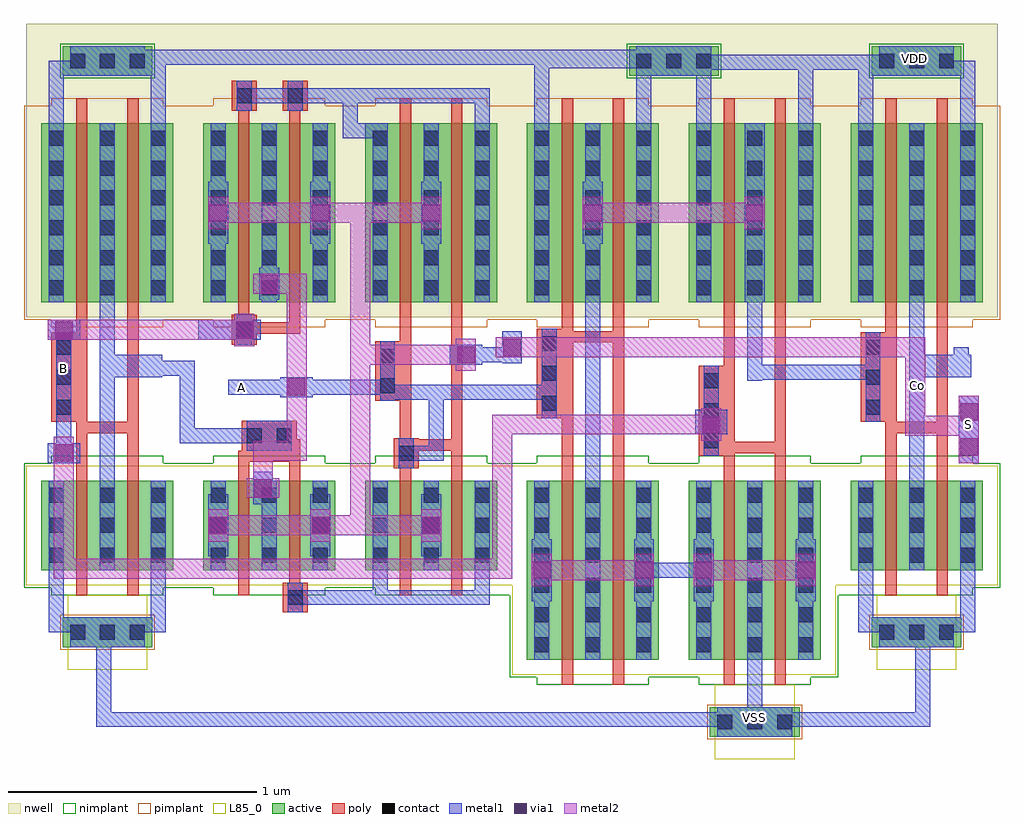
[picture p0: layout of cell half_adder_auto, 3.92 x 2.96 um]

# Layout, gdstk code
import gdstk
lib = gdstk.Library(unit=1e-6, precision=5e-10)
def R(c, l, rs):  # rectangles x0, y0, x1, y1
    for r in rs: c.add(gdstk.rectangle(r[:2], r[2:], *l))
def A(c, l, x, y, w, h, nx, ny, dx, dy):  # array of equal rectangles
    R(c, l, [(x+i*dx, y+j*dy, x+i*dx+w, y+j*dy+h) for i in range(nx) for j in range(ny)])
active = (1, 0)
nwell = (2, 0)
poly = (3, 0)
nimplant = (4, 0)
pimplant = (5, 0)
contact = (6, 0)
metal1 = (7, 0)
via1 = (8, 0)
metal2 = (9, 0)
L85_0 = (85, 0)

pmos1v_cdns_764868220890 = lib.new_cell('pmos1v_CDNS_764868220890')
R(pmos1v_cdns_764868220890, active, [(-0.14,0,0,0.72), (0,0,0.045,0.72), (0.045,0,0.205,0.72), (0.205,0,0.25,0.72), (0.25,0,0.39,0.72)])
R(pmos1v_cdns_764868220890, nwell, [(-0.2,-0.06,0.45,0.78)])
R(pmos1v_cdns_764868220890, poly, [(0,-0.1,0.045,-0.05), (0.205,-0.1,0.25,-0.05), (0,-0.05,0.045,0), (0.205,-0.05,0.25,0), (0,0,0.045,0.72), (0.205,0,0.25,0.72), (0,0.72,0.045,0.77), (0.205,0.72,0.25,0.77), (0,0.77,0.045,0.82), (0.205,0.77,0.25,0.82)])
R(pmos1v_cdns_764868220890, pimplant, [(-0.1,-0.1,0.35,0.82), (-0.21,-0.07,0.46,0.79)])
A(pmos1v_cdns_764868220890, contact, -0.11, 0.03, 0.06, 0.06, 3, 6, 0.205, 0.12)
A(pmos1v_cdns_764868220890, metal1, -0.11, 0, 0.06, 0.72, 3, 1, 0.205, 0)
pmos1v_cdns_764868220890.add(gdstk.Label('S_source_2', (0.32,0.36), layer=1, texttype=0))
pmos1v_cdns_764868220890.add(gdstk.Label('S_source_0', (-0.07,0.36), layer=1, texttype=0))
pmos1v_cdns_764868220890.add(gdstk.Label('G_gate_2', (0.2275,-0.075), layer=3, texttype=0))
pmos1v_cdns_764868220890.add(gdstk.Label('G_gate_2', (0.2275,0.795), layer=3, texttype=0))
pmos1v_cdns_764868220890.add(gdstk.Label('G_gate_1', (0.0225,-0.075), layer=3, texttype=0))
pmos1v_cdns_764868220890.add(gdstk.Label('G_gate_1', (0.0225,0.795), layer=3, texttype=0))
pmos1v_cdns_764868220890.add(gdstk.Label('S_source_2', (0.33,0.36), layer=7, texttype=0))
pmos1v_cdns_764868220890.add(gdstk.Label('D_drain_1', (0.125,0.36), layer=7, texttype=0))
pmos1v_cdns_764868220890.add(gdstk.Label('S_source_0', (-0.08,0.36), layer=7, texttype=0))
pmos1v_cdns_764868220890.add(gdstk.Label('B', (0.125,0.36), layer=2, texttype=0))

nmos1v_cdns_764868220891 = lib.new_cell('nmos1v_CDNS_764868220891')
R(nmos1v_cdns_764868220891, active, [(-0.14,0,0,0.36), (0,0,0.045,0.36), (0.045,0,0.205,0.36), (0.205,0,0.25,0.36), (0.25,0,0.39,0.36)])
R(nmos1v_cdns_764868220891, poly, [(0,-0.1,0.045,-0.05), (0.205,-0.1,0.25,-0.05), (0,-0.05,0.045,0), (0.205,-0.05,0.25,0), (0,0,0.045,0.36), (0.205,0,0.25,0.36), (0,0.36,0.045,0.41), (0.205,0.36,0.25,0.41), (0,0.41,0.045,0.46), (0.205,0.41,0.25,0.46)])
R(nmos1v_cdns_764868220891, nimplant, [(-0.1,-0.1,0.35,0.46), (-0.21,-0.07,0.46,0.43)])
A(nmos1v_cdns_764868220891, contact, -0.11, 0.03, 0.06, 0.06, 3, 3, 0.205, 0.12)
A(nmos1v_cdns_764868220891, metal1, -0.11, 0, 0.06, 0.36, 3, 1, 0.205, 0)
R(nmos1v_cdns_764868220891, L85_0, [(-0.2,-0.06,0.45,0.42)])
nmos1v_cdns_764868220891.add(gdstk.Label('S_source_2', (0.32,0.18), layer=1, texttype=0))
nmos1v_cdns_764868220891.add(gdstk.Label('S_source_0', (-0.07,0.18), layer=1, texttype=0))
nmos1v_cdns_764868220891.add(gdstk.Label('G_gate_2', (0.2275,-0.075), layer=3, texttype=0))
nmos1v_cdns_764868220891.add(gdstk.Label('G_gate_2', (0.2275,0.435), layer=3, texttype=0))
nmos1v_cdns_764868220891.add(gdstk.Label('G_gate_1', (0.0225,-0.075), layer=3, texttype=0))
nmos1v_cdns_764868220891.add(gdstk.Label('G_gate_1', (0.0225,0.435), layer=3, texttype=0))
nmos1v_cdns_764868220891.add(gdstk.Label('S_source_2', (0.33,0.18), layer=7, texttype=0))
nmos1v_cdns_764868220891.add(gdstk.Label('D_drain_1', (0.125,0.18), layer=7, texttype=0))
nmos1v_cdns_764868220891.add(gdstk.Label('S_source_0', (-0.08,0.18), layer=7, texttype=0))
nmos1v_cdns_764868220891.add(gdstk.Label('B', (0.125,0.18), layer=85, texttype=0))

m1_nwell_cdns_7648682208 = lib.new_cell('M1_NWELL_CDNS_764868220899')
R(m1_nwell_cdns_7648682208, active, [(-0.18,-0.06,0.18,0.06)])
R(m1_nwell_cdns_7648682208, nwell, [(-0.21,-0.15,0.21,0.15)])
R(m1_nwell_cdns_7648682208, nimplant, [(-0.19,-0.07,0.19,0.07)])
A(m1_nwell_cdns_7648682208, contact, -0.15, -0.03, 0.06, 0.06, 3, 1, 0.12, 0)
R(m1_nwell_cdns_7648682208, metal1, [(-0.15,-0.06,0.15,0.06)])

m1_po_cdns_7648682208910 = lib.new_cell('M1_PO_CDNS_7648682208910')
R(m1_po_cdns_7648682208910, poly, [(-0.05,-0.18,0.05,0.18)])
A(m1_po_cdns_7648682208910, contact, -0.03, -0.15, 0.06, 0.06, 1, 3, 0, 0.12)
R(m1_po_cdns_7648682208910, metal1, [(-0.03,-0.18,0.03,0.18)])

m1_psub_cdns_76486822089 = lib.new_cell('M1_PSUB_CDNS_7648682208911')
R(m1_psub_cdns_76486822089, active, [(-0.18,-0.06,0.18,0.06)])
R(m1_psub_cdns_76486822089, pimplant, [(-0.19,-0.07,0.19,0.07)])
A(m1_psub_cdns_76486822089, contact, -0.15, -0.03, 0.06, 0.06, 3, 1, 0.12, 0)
R(m1_psub_cdns_76486822089, metal1, [(-0.15,-0.06,0.15,0.06)])
R(m1_psub_cdns_76486822089, L85_0, [(-0.16,-0.15,0.16,0.15)])

inv = lib.new_cell('inv')
R(inv, nwell, [(-0.23,1.095,0.42,1.435)])
R(inv, metal1, [(0.065,-1.04,0.125,-0.98), (-0.11,-0.03,-0.05,0.03), (0.255,0.015,0.315,0.075), (0.04,1.225,0.1,1.285)])
inv.add(gdstk.FlexPath([(0.3,1.255),(0.3,1.035)], 0.06, ends=(0.03, 0), simple_path=True, layer=7, datatype=0))  # metal1
inv.add(gdstk.FlexPath([(-0.11,1.255),(-0.11,1.035)], 0.06, ends=(0.03, 0), simple_path=True, layer=7, datatype=0))  # metal1
inv.add(gdstk.FlexPath([(-0.11,1.255),(0.3,1.255)], 0.06, ends="extended", simple_path=True, layer=7, datatype=0))  # metal1
inv.add(gdstk.FlexPath([(0.095,0.045),(0.285,0.045)], 0.06, ends="extended", simple_path=True, layer=7, datatype=0))  # metal1
inv.add(gdstk.FlexPath([(0.095,-0.73),(0.095,0.045)], 0.06, ends="extended", simple_path=True, layer=7, datatype=0))  # metal1
inv.add(gdstk.FlexPath([(0.285,0.075),(0.095,0.075)], 0.06, ends="extended", simple_path=True, layer=7, datatype=0))  # metal1
inv.add(gdstk.FlexPath([(0.285,0.045),(0.285,0.075)], 0.06, ends="extended", simple_path=True, layer=7, datatype=0))  # metal1
inv.add(gdstk.FlexPath([(0.095,0.075),(0.095,1.005)], 0.06, ends="extended", simple_path=True, layer=7, datatype=0))  # metal1
inv.add(gdstk.FlexPath([(0.3,-0.98),(-0.11,-0.98)], 0.06, ends="extended", simple_path=True, layer=7, datatype=0))  # metal1
inv.add(gdstk.FlexPath([(0.3,-0.76),(0.3,-0.98)], 0.06, ends=(0, 0.03), simple_path=True, layer=7, datatype=0))  # metal1
inv.add(gdstk.FlexPath([(-0.11,-0.76),(-0.11,-0.98)], 0.06, ends=(0, 0.03), simple_path=True, layer=7, datatype=0))  # metal1
inv.add(gdstk.FlexPath([(-0.0075,-0.1875),(-0.0075,-0.3)], 0.045, ends=(0.0225, 0), simple_path=True, layer=3, datatype=0))  # poly
inv.add(gdstk.FlexPath([(-0.0075,0.215),(-0.0075,-0.1875)], 0.045, ends=(0, 0.0225), simple_path=True, layer=3, datatype=0))  # poly
inv.add(gdstk.FlexPath([(0.1975,0.215),(0.1975,-0.1875)], 0.045, ends=(0, 0.0225), simple_path=True, layer=3, datatype=0))  # poly
inv.add(gdstk.FlexPath([(-0.0075,-0.1875),(0.1975,-0.1875)], 0.045, ends="extended", simple_path=True, layer=3, datatype=0))  # poly
inv.add(gdstk.FlexPath([(0.1975,-0.1875),(0.1975,-0.3)], 0.045, ends=(0.0225, 0), simple_path=True, layer=3, datatype=0))  # poly
inv.add(gdstk.Reference(pmos1v_cdns_764868220890, (-0.03,0.315)))
inv.add(gdstk.Reference(nmos1v_cdns_764868220891, (-0.03,-0.76)))
inv.add(gdstk.Reference(m1_nwell_cdns_7648682208, (0.095,1.285)))
inv.add(gdstk.Reference(m1_po_cdns_7648682208910, (-0.08,0.015)))
inv.add(gdstk.Reference(m1_psub_cdns_76486822089, (0.095,-1.01)))
inv.add(gdstk.Label('OUT', (0.285,0.045), layer=7, texttype=0))
inv.add(gdstk.Label('VSS', (0.095,-1.01), layer=7, texttype=0))
inv.add(gdstk.Label('VDD', (0.07,1.255), layer=7, texttype=0))
inv.add(gdstk.Label('IN', (-0.08,0), layer=7, texttype=0))
inv.add(gdstk.Label('OUT', (0.285,0.045), layer=63, texttype=0))
inv.add(gdstk.Label('VSS', (0.095,-1.01), layer=63, texttype=0))
inv.add(gdstk.Label('VDD', (0.07,1.255), layer=63, texttype=0))
inv.add(gdstk.Label('IN', (-0.08,0), layer=63, texttype=0))

m2_m1_cdns_764868220893 = lib.new_cell('M2_M1_CDNS_764868220893')
R(m2_m1_cdns_764868220893, metal1, [(-0.065,-0.04,0.065,0.04)])
R(m2_m1_cdns_764868220893, via1, [(-0.035,-0.035,0.035,0.035)])
R(m2_m1_cdns_764868220893, metal2, [(-0.065,-0.04,0.065,0.04)])

m2_m1_cdns_764868220891 = lib.new_cell('M2_M1_CDNS_764868220891')
R(m2_m1_cdns_764868220891, metal1, [(-0.065,-0.04,0.065,0.04)])
R(m2_m1_cdns_764868220891, via1, [(-0.035,-0.035,0.035,0.035)])
R(m2_m1_cdns_764868220891, metal2, [(-0.04,-0.065,0.04,0.065)])

m2_m1_cdns_764868220894 = lib.new_cell('M2_M1_CDNS_764868220894')
R(m2_m1_cdns_764868220894, metal1, [(-0.04,-0.125,0.04,0.125)])
R(m2_m1_cdns_764868220894, via1, [(-0.035,-0.035,0.035,0.035)])
R(m2_m1_cdns_764868220894, metal2, [(-0.04,-0.065,0.04,0.065)])

m2_m1_cdns_764868220895 = lib.new_cell('M2_M1_CDNS_764868220895')
R(m2_m1_cdns_764868220895, metal1, [(-0.185,-0.04,0.065,0.04)])
R(m2_m1_cdns_764868220895, via1, [(-0.035,-0.035,0.035,0.035)])
R(m2_m1_cdns_764868220895, metal2, [(-0.04,-0.065,0.04,0.065)])

m1_po_cdns_764868220896 = lib.new_cell('M1_PO_CDNS_764868220896')
R(m1_po_cdns_764868220896, poly, [(-0.05,-0.06,0.05,0.06)])
R(m1_po_cdns_764868220896, contact, [(-0.03,-0.03,0.03,0.03)])
R(m1_po_cdns_764868220896, metal1, [(-0.03,-0.06,0.03,0.06)])

m2_m1_cdns_764868220890 = lib.new_cell('M2_M1_CDNS_764868220890')
R(m2_m1_cdns_764868220890, metal1, [(-0.04,-0.065,0.04,0.065)])
R(m2_m1_cdns_764868220890, via1, [(-0.035,-0.035,0.035,0.035)])
R(m2_m1_cdns_764868220890, metal2, [(-0.065,-0.04,0.065,0.04)])

m1_po_cdns_764868220897 = lib.new_cell('M1_PO_CDNS_764868220897')
R(m1_po_cdns_764868220897, poly, [(-0.05,-0.12,0.05,0.12)])
R(m1_po_cdns_764868220897, contact, [(-0.03,-0.09,0.03,-0.03), (-0.03,0.03,0.03,0.09)])
R(m1_po_cdns_764868220897, metal1, [(-0.03,-0.12,0.03,0.12)])

m1_po_cdns_764868220898 = lib.new_cell('M1_PO_CDNS_764868220898')
R(m1_po_cdns_764868220898, poly, [(-0.11,-0.06,0.11,0.06)])
R(m1_po_cdns_764868220898, contact, [(-0.09,-0.03,-0.03,0.03), (0.03,-0.03,0.09,0.03)])
R(m1_po_cdns_764868220898, metal1, [(-0.09,-0.06,0.09,0.06)])

xor = lib.new_cell('xor')
R(xor, nwell, [(-1.1,0.895,0.85,1.235)])
R(xor, metal1, [(-0.79,-1.21,-0.73,-1.15), (-0.155,-0.47,-0.095,-0.41), (0.32,-0.245,0.38,-0.185), (-0.98,-0.235,-0.92,-0.175), (0.83,-0.125,0.89,-0.065), (-0.815,1.025,-0.755,1.085)])
xor.add(gdstk.FlexPath([(0.665,-0.095),(0.24,-0.095)], 0.08, ends="extended", simple_path=True, layer=9, datatype=0))  # metal2
xor.add(gdstk.FlexPath([(0.24,0.475),(0.24,-0.095)], 0.08, ends="extended", simple_path=True, layer=9, datatype=0))  # metal2
xor.add(gdstk.FlexPath([(0.24,-0.095),(0.24,-0.78)], 0.08, ends="extended", simple_path=True, layer=9, datatype=0))  # metal2
xor.add(gdstk.FlexPath([(0.525,-0.78),(0.24,-0.78)], 0.08, ends="extended", simple_path=True, layer=9, datatype=0))  # metal2
xor.add(gdstk.FlexPath([(0.24,-0.78),(0.08,-0.78)], 0.08, ends="extended", simple_path=True, layer=9, datatype=0))  # metal2
xor.add(gdstk.FlexPath([(-0.33,-0.78),(0.08,-0.78)], 0.08, ends="extended", simple_path=True, layer=9, datatype=0))  # metal2
xor.add(gdstk.FlexPath([(0.525,0.475),(0.24,0.475)], 0.08, ends="extended", simple_path=True, layer=9, datatype=0))  # metal2
xor.add(gdstk.FlexPath([(0.24,0.475),(0.08,0.475)], 0.08, ends="extended", simple_path=True, layer=9, datatype=0))  # metal2
xor.add(gdstk.FlexPath([(-0.33,0.475),(0.08,0.475)], 0.08, ends="extended", simple_path=True, layer=9, datatype=0))  # metal2
xor.add(gdstk.FlexPath([(-0.015,-0.48),(-0.015,-0.225)], 0.08, ends=(0.04, 0.065), simple_path=True, layer=9, datatype=0))  # metal2
xor.add(gdstk.FlexPath([(-0.15,-0.48),(-0.015,-0.48)], 0.08, ends="extended", simple_path=True, layer=9, datatype=0))  # metal2
xor.add(gdstk.FlexPath([(-0.015,0.19),(-0.015,-0.225)], 0.08, ends=(0.04, 0.065), simple_path=True, layer=9, datatype=0))  # metal2
xor.add(gdstk.FlexPath([(-0.125,0.19),(-0.015,0.19)], 0.08, ends=(0.065, 0.04), simple_path=True, layer=9, datatype=0))  # metal2
xor.add(gdstk.FlexPath([(-0.15,-0.63),(-0.15,-0.48)], 0.08, ends="extended", simple_path=True, layer=9, datatype=0))  # metal2
xor.add(gdstk.FlexPath([(-0.95,0.005),(-0.225,0.005)], 0.08, ends=(0.065, 0.04), simple_path=True, layer=9, datatype=0))  # metal2
xor.add(gdstk.FlexPath([(-0.2275,0.885),(-0.2275,0.945)], 0.045, ends=(0, 0.06), simple_path=True, layer=3, datatype=0))  # poly
xor.add(gdstk.FlexPath([(-0.2275,0.005),(-0.225,0.005)], 0.045, ends=(0, 0.05), simple_path=True, layer=3, datatype=0))  # poly
xor.add(gdstk.FlexPath([(-0.0225,0.885),(-0.0225,0.945)], 0.045, ends=(0, 0.06), simple_path=True, layer=3, datatype=0))  # poly
xor.add(gdstk.FlexPath([(-0.2275,0.945),(-0.225,0.945)], 0.045, ends="flush", simple_path=True, layer=3, datatype=0))  # poly
xor.add(gdstk.FlexPath([(-0.0225,-0.495),(-0.02,-0.495)], 0.045, ends="flush", simple_path=True, layer=3, datatype=0))  # poly
xor.add(gdstk.FlexPath([(-0.0225,-0.55),(-0.0225,-0.495)], 0.045, ends=(0.005, 0.06), simple_path=True, layer=3, datatype=0))  # poly
xor.add(gdstk.FlexPath([(-0.225,0.0125),(0,0.0125)], 0.045, ends=(0.025, 0), simple_path=True, layer=3, datatype=0))  # poly
xor.add(gdstk.FlexPath([(-0.02,-0.5025),(-0.25,-0.5025)], 0.045, ends=(0.02, 0), simple_path=True, layer=3, datatype=0))  # poly
xor.add(gdstk.FlexPath([(-0.0225,-1.0725),(-0.02,-1.0725)], 0.045, ends=(0.0225, 0), simple_path=True, layer=3, datatype=0))  # poly
xor.add(gdstk.FlexPath([(-0.0225,-1.01),(-0.0225,-1.0725)], 0.045, ends=(0, 0.0225), simple_path=True, layer=3, datatype=0))  # poly
xor.add(gdstk.FlexPath([(-0.2275,0.065),(-0.2275,0.005)], 0.045, ends=(0, 0.06), simple_path=True, layer=3, datatype=0))  # poly
xor.add(gdstk.FlexPath([(-0.2275,-0.5025),(-0.1275,-0.5025)], 0.045, ends="extended", simple_path=True, layer=3, datatype=0))  # poly
xor.add(gdstk.FlexPath([(-0.1275,-0.5025),(-0.1275,-0.42)], 0.045, ends=(0.0225, 0), simple_path=True, layer=3, datatype=0))  # poly
xor.add(gdstk.FlexPath([(0.4225,-0.55),(0.4225,-0.49)], 0.045, ends=(0, 0.06), simple_path=True, layer=3, datatype=0))  # poly
xor.add(gdstk.FlexPath([(-0.0225,0.945),(-0.02,0.945)], 0.045, ends="flush", simple_path=True, layer=3, datatype=0))  # poly
xor.add(gdstk.FlexPath([(0.4225,0.015),(0.4225,-0.4575)], 0.045, ends=(0, 0.0225), simple_path=True, layer=3, datatype=0))  # poly
xor.add(gdstk.FlexPath([(0.4225,-0.4575),(0.4225,-0.5)], 0.045, ends=(0.0225, 0), simple_path=True, layer=3, datatype=0))  # poly
xor.add(gdstk.FlexPath([(0.4225,-0.4575),(0.6275,-0.4575)], 0.045, ends="extended", simple_path=True, layer=3, datatype=0))  # poly
xor.add(gdstk.FlexPath([(-0.2275,-0.5275),(-0.2275,-0.5025)], 0.045, ends="extended", simple_path=True, layer=3, datatype=0))  # poly
xor.add(gdstk.FlexPath([(0.4225,-0.49),(0.425,-0.49)], 0.045, ends="flush", simple_path=True, layer=3, datatype=0))  # poly
xor.add(gdstk.FlexPath([(0.6275,0.015),(0.6275,-0.4575)], 0.045, ends=(0, 0.0225), simple_path=True, layer=3, datatype=0))  # poly
xor.add(gdstk.FlexPath([(0.6275,-0.4575),(0.6275,-0.5)], 0.045, ends=(0.0225, 0), simple_path=True, layer=3, datatype=0))  # poly
xor.add(gdstk.FlexPath([(0.86,-0.095),(0.665,-0.095)], 0.06, ends=(0.03, 0.065), simple_path=True, layer=7, datatype=0))  # metal1
xor.add(gdstk.FlexPath([(0.545,-0.49),(0.425,-0.49)], 0.06, ends="extended", simple_path=True, layer=7, datatype=0))  # metal1
xor.add(gdstk.FlexPath([(0.545,-0.245),(0.545,-0.49)], 0.06, ends="extended", simple_path=True, layer=7, datatype=0))  # metal1
xor.add(gdstk.FlexPath([(0.35,-0.245),(0.545,-0.245)], 0.06, ends="extended", simple_path=True, layer=7, datatype=0))  # metal1
xor.add(gdstk.FlexPath([(0.35,-0.185),(0.35,-0.245)], 0.06, ends=(0, 0.03), simple_path=True, layer=7, datatype=0))  # metal1
xor.add(gdstk.FlexPath([(0.35,-0.225),(0.35,-0.185)], 0.06, ends=(0.03, 0), simple_path=True, layer=7, datatype=0))  # metal1
xor.add(gdstk.FlexPath([(-0.015,-0.225),(0.35,-0.225)], 0.06, ends=(0.065, 0.03), simple_path=True, layer=7, datatype=0))  # metal1
xor.add(gdstk.FlexPath([(0.32,0.805),(0.2,0.805)], 0.06, ends="extended", simple_path=True, layer=7, datatype=0))  # metal1
xor.add(gdstk.FlexPath([(0.32,0.115),(0.32,0.805)], 0.06, ends=(0, 0.03), simple_path=True, layer=7, datatype=0))  # metal1
xor.add(gdstk.FlexPath([(0.2,0.805),(0.2,0.945)], 0.06, ends="extended", simple_path=True, layer=7, datatype=0))  # metal1
xor.add(gdstk.FlexPath([(0.73,0.945),(0.2,0.945)], 0.06, ends="extended", simple_path=True, layer=7, datatype=0))  # metal1
xor.add(gdstk.FlexPath([(0.73,0.145),(0.73,0.945)], 0.06, ends="extended", simple_path=True, layer=7, datatype=0))  # metal1
xor.add(gdstk.FlexPath([(0.2,0.945),(-0.02,0.945)], 0.06, ends="extended", simple_path=True, layer=7, datatype=0))  # metal1
xor.add(gdstk.FlexPath([(-0.225,0.945),(-0.02,0.945)], 0.06, ends="extended", simple_path=True, layer=7, datatype=0))  # metal1
xor.add(gdstk.FlexPath([(0.73,-1.07),(0.32,-1.07)], 0.06, ends="extended", simple_path=True, layer=7, datatype=0))  # metal1
xor.add(gdstk.FlexPath([(0.73,-0.63),(0.73,-1.07)], 0.06, ends="extended", simple_path=True, layer=7, datatype=0))  # metal1
xor.add(gdstk.FlexPath([(-0.95,-0.205),(-0.95,0.005)], 0.06, ends=(0.03, 0.04), simple_path=True, layer=7, datatype=0))  # metal1
xor.add(gdstk.FlexPath([(-0.455,-0.15),(-0.555,-0.15)], 0.06, ends=(0.03, 0), simple_path=True, layer=7, datatype=0))  # metal1
xor.add(gdstk.FlexPath([(0.32,-0.96),(0.32,-1.07)], 0.06, ends=(0, 0.03), simple_path=True, layer=7, datatype=0))  # metal1
xor.add(gdstk.FlexPath([(-0.455,-0.42),(-0.455,-0.15)], 0.06, ends="extended", simple_path=True, layer=7, datatype=0))  # metal1
xor.add(gdstk.FlexPath([(-0.1275,-0.42),(-0.455,-0.42)], 0.06, ends=(0, 0.03), simple_path=True, layer=7, datatype=0))  # metal1
xor.add(gdstk.FlexPath([(0.32,-1.07),(-0.02,-1.07)], 0.06, ends=(0.03, 0), simple_path=True, layer=7, datatype=0))  # metal1
xor.add(gdstk.Reference(inv, (-0.87,-0.2)))
xor.add(gdstk.Reference(pmos1v_cdns_764868220890, (-0.25,0.115)))
xor.add(gdstk.Reference(pmos1v_cdns_764868220890, (0.4,0.115)))
xor.add(gdstk.Reference(nmos1v_cdns_764868220891, (-0.25,-0.96)))
xor.add(gdstk.Reference(nmos1v_cdns_764868220891, (0.4,-0.96)))
xor.add(gdstk.Reference(m2_m1_cdns_764868220893, (-0.95,0.005)))
xor.add(gdstk.Reference(m2_m1_cdns_764868220891, (-0.015,-0.225)))
xor.add(gdstk.Reference(m2_m1_cdns_764868220891, (0.665,-0.095)))
xor.add(gdstk.Reference(m2_m1_cdns_764868220894, (0.525,-0.78)))
xor.add(gdstk.Reference(m2_m1_cdns_764868220894, (0.525,0.475)))
xor.add(gdstk.Reference(m2_m1_cdns_764868220894, (0.08,0.475)))
xor.add(gdstk.Reference(m2_m1_cdns_764868220894, (0.08,0.475)))
xor.add(gdstk.Reference(m2_m1_cdns_764868220894, (0.08,-0.78)))
xor.add(gdstk.Reference(m2_m1_cdns_764868220894, (0.08,-0.78)))
xor.add(gdstk.Reference(m2_m1_cdns_764868220894, (-0.33,0.475)))
xor.add(gdstk.Reference(m2_m1_cdns_764868220894, (-0.33,-0.78)))
xor.add(gdstk.Reference(m2_m1_cdns_764868220895, (-0.225,0.005)))
xor.add(gdstk.Reference(m1_po_cdns_764868220896, (-0.02,-1.07)))
xor.add(gdstk.Reference(m1_po_cdns_764868220896, (0.425,-0.49)))
xor.add(gdstk.Reference(m1_po_cdns_764868220896, (-0.225,0.945)))
xor.add(gdstk.Reference(m1_po_cdns_764868220896, (-0.02,0.945)))
xor.add(gdstk.Reference(m1_po_cdns_764868220896, (-0.225,0.005)))
xor.add(gdstk.Reference(m2_m1_cdns_764868220890, (-0.125,0.19)))
xor.add(gdstk.Reference(m2_m1_cdns_764868220890, (-0.15,-0.63)))
xor.add(gdstk.Reference(m1_po_cdns_764868220897, (0.35,-0.16)))
xor.add(gdstk.Reference(m1_po_cdns_764868220898, (-0.125,-0.42)))
xor.add(gdstk.Label('OUT', (0.86,-0.095), layer=7, texttype=0))
xor.add(gdstk.Label('A', (0.35,-0.215), layer=7, texttype=0))
xor.add(gdstk.Label('B_bar', (-0.125,-0.44), layer=7, texttype=0))
xor.add(gdstk.Label('VSS', (-0.76,-1.18), layer=7, texttype=0))
xor.add(gdstk.Label('VDD', (-0.785,1.055), layer=7, texttype=0))
xor.add(gdstk.Label('B', (-0.95,-0.205), layer=7, texttype=0))

nmos1v_cdns_764868220892 = lib.new_cell('nmos1v_CDNS_764868220892')
R(nmos1v_cdns_764868220892, active, [(-0.14,0,0,0.72), (0,0,0.045,0.72), (0.045,0,0.205,0.72), (0.205,0,0.25,0.72), (0.25,0,0.39,0.72)])
R(nmos1v_cdns_764868220892, poly, [(0,-0.1,0.045,-0.05), (0.205,-0.1,0.25,-0.05), (0,-0.05,0.045,0), (0.205,-0.05,0.25,0), (0,0,0.045,0.72), (0.205,0,0.25,0.72), (0,0.72,0.045,0.77), (0.205,0.72,0.25,0.77), (0,0.77,0.045,0.82), (0.205,0.77,0.25,0.82)])
R(nmos1v_cdns_764868220892, nimplant, [(-0.1,-0.1,0.35,0.82), (-0.21,-0.07,0.46,0.79)])
A(nmos1v_cdns_764868220892, contact, -0.11, 0.03, 0.06, 0.06, 3, 6, 0.205, 0.12)
A(nmos1v_cdns_764868220892, metal1, -0.11, 0, 0.06, 0.72, 3, 1, 0.205, 0)
R(nmos1v_cdns_764868220892, L85_0, [(-0.2,-0.06,0.45,0.78)])
nmos1v_cdns_764868220892.add(gdstk.Label('S_source_2', (0.32,0.36), layer=1, texttype=0))
nmos1v_cdns_764868220892.add(gdstk.Label('S_source_0', (-0.07,0.36), layer=1, texttype=0))
nmos1v_cdns_764868220892.add(gdstk.Label('G_gate_2', (0.2275,-0.075), layer=3, texttype=0))
nmos1v_cdns_764868220892.add(gdstk.Label('G_gate_2', (0.2275,0.795), layer=3, texttype=0))
nmos1v_cdns_764868220892.add(gdstk.Label('G_gate_1', (0.0225,-0.075), layer=3, texttype=0))
nmos1v_cdns_764868220892.add(gdstk.Label('G_gate_1', (0.0225,0.795), layer=3, texttype=0))
nmos1v_cdns_764868220892.add(gdstk.Label('S_source_2', (0.33,0.36), layer=7, texttype=0))
nmos1v_cdns_764868220892.add(gdstk.Label('D_drain_1', (0.125,0.36), layer=7, texttype=0))
nmos1v_cdns_764868220892.add(gdstk.Label('S_source_0', (-0.08,0.36), layer=7, texttype=0))
nmos1v_cdns_764868220892.add(gdstk.Label('B', (0.125,0.36), layer=85, texttype=0))

nand2 = lib.new_cell('nand2')
R(nand2, nwell, [(-0.005,0.85,1.295,1.19)])
R(nand2, metal1, [(0.945,-1.645,1.005,-1.585), (0.765,-0.5,0.825,-0.44), (0.94,-0.24,1,-0.18), (0.115,-0.19,0.175,-0.13), (0.605,1.025,0.665,1.085)])
nand2.add(gdstk.FlexPath([(0.97,0.43),(0.32,0.43)], 0.08, ends="extended", simple_path=True, layer=9, datatype=0))  # metal2
nand2.add(gdstk.FlexPath([(1.175,-1.005),(0.765,-1.005)], 0.08, ends="extended", simple_path=True, layer=9, datatype=0))  # metal2
nand2.add(gdstk.FlexPath([(0.115,-1.005),(0.525,-1.005)], 0.08, ends="extended", simple_path=True, layer=9, datatype=0))  # metal2
nand2.add(gdstk.FlexPath([(0.4225,-0.03),(0.4225,-0.0675)], 0.045, ends=(0, 0.0225), simple_path=True, layer=3, datatype=0))  # poly
nand2.add(gdstk.FlexPath([(0.4225,-0.0675),(0.4225,-0.545)], 0.045, ends=(0.0225, 0), simple_path=True, layer=3, datatype=0))  # poly
nand2.add(gdstk.FlexPath([(0.2175,-0.0675),(0.2175,-0.545)], 0.045, ends=(0.0225, 0), simple_path=True, layer=3, datatype=0))  # poly
nand2.add(gdstk.FlexPath([(0.8675,-0.5125),(1.0725,-0.5125)], 0.045, ends="extended", simple_path=True, layer=3, datatype=0))  # poly
nand2.add(gdstk.FlexPath([(1.0725,-0.5125),(1.0725,-0.545)], 0.045, ends=(0.0225, 0), simple_path=True, layer=3, datatype=0))  # poly
nand2.add(gdstk.FlexPath([(1.0725,-0.03),(1.0725,-0.5125)], 0.045, ends=(0, 0.0225), simple_path=True, layer=3, datatype=0))  # poly
nand2.add(gdstk.FlexPath([(0.8675,-0.5125),(0.8675,-0.545)], 0.045, ends=(0.0225, 0), simple_path=True, layer=3, datatype=0))  # poly
nand2.add(gdstk.FlexPath([(0.8675,-0.03),(0.8675,-0.5125)], 0.045, ends=(0, 0.0225), simple_path=True, layer=3, datatype=0))  # poly
nand2.add(gdstk.FlexPath([(0.2175,-0.03),(0.2175,-0.0675)], 0.045, ends=(0, 0.0225), simple_path=True, layer=3, datatype=0))  # poly
nand2.add(gdstk.FlexPath([(0.2175,-0.0675),(0.4225,-0.0675)], 0.045, ends="extended", simple_path=True, layer=3, datatype=0))  # poly
nand2.add(gdstk.FlexPath([(0.97,-1.365),(0.97,-1.585)], 0.06, ends="flush", simple_path=True, layer=7, datatype=0))  # metal1
nand2.add(gdstk.FlexPath([(0.97,0.07),(0.97,-0.245)], 0.06, ends="flush", simple_path=True, layer=7, datatype=0))  # metal1
nand2.add(gdstk.FlexPath([(0.795,-0.365),(0.795,-0.47)], 0.06, ends="extended", simple_path=True, layer=7, datatype=0))  # metal1
nand2.add(gdstk.FlexPath([(0.97,0.1),(0.97,0.79)], 0.08, ends=(0.03, 0), simple_path=True, layer=7, datatype=0))  # metal1
nand2.add(gdstk.FlexPath([(0.765,0.79),(0.765,1.035)], 0.06, ends=(0, 0.03), simple_path=True, layer=7, datatype=0))  # metal1
nand2.add(gdstk.FlexPath([(0.645,1.04),(0.525,1.04)], 0.06, ends="extended", simple_path=True, layer=7, datatype=0))  # metal1
nand2.add(gdstk.FlexPath([(0.115,0.79),(0.115,1.04)], 0.06, ends=(0, 0.03), simple_path=True, layer=7, datatype=0))  # metal1
nand2.add(gdstk.FlexPath([(0.32,0.76),(0.32,-1.335)], 0.06, ends="extended", simple_path=True, layer=7, datatype=0))  # metal1
nand2.add(gdstk.FlexPath([(0.115,1.04),(0.525,1.04)], 0.06, ends="extended", simple_path=True, layer=7, datatype=0))  # metal1
nand2.add(gdstk.FlexPath([(0.765,1.035),(0.645,1.035)], 0.06, ends="extended", simple_path=True, layer=7, datatype=0))  # metal1
nand2.add(gdstk.FlexPath([(1.175,0.79),(1.175,1.035)], 0.06, ends=(0, 0.03), simple_path=True, layer=7, datatype=0))  # metal1
nand2.add(gdstk.FlexPath([(1.175,1.035),(0.765,1.035)], 0.06, ends="extended", simple_path=True, layer=7, datatype=0))  # metal1
nand2.add(gdstk.FlexPath([(0.645,1.035),(0.645,1.04)], 0.06, ends=(0.03, 0), simple_path=True, layer=7, datatype=0))  # metal1
nand2.add(gdstk.FlexPath([(0.145,-0.16),(0.145,-0.215)], 0.06, ends="extended", simple_path=True, layer=7, datatype=0))  # metal1
nand2.add(gdstk.FlexPath([(0.525,0.79),(0.525,1.04)], 0.06, ends=(0, 0.03), simple_path=True, layer=7, datatype=0))  # metal1
nand2.add(gdstk.FlexPath([(0.765,-1.005),(0.525,-1.005)], 0.06, ends="extended", simple_path=True, layer=7, datatype=0))  # metal1
nand2.add(gdstk.Reference(nmos1v_cdns_764868220892, (0.845,-1.365)))
nand2.add(gdstk.Reference(nmos1v_cdns_764868220892, (0.195,-1.365)))
nand2.add(gdstk.Reference(pmos1v_cdns_764868220890, (0.195,0.07)))
nand2.add(gdstk.Reference(pmos1v_cdns_764868220890, (0.845,0.07)))
nand2.add(gdstk.Reference(m1_nwell_cdns_7648682208, (0.645,1.04)))
nand2.add(gdstk.Reference(m2_m1_cdns_764868220894, (1.175,-1.005)))
nand2.add(gdstk.Reference(m2_m1_cdns_764868220894, (0.765,-1.005)))
nand2.add(gdstk.Reference(m2_m1_cdns_764868220894, (0.525,-1.005)))
nand2.add(gdstk.Reference(m2_m1_cdns_764868220894, (0.97,0.43)))
nand2.add(gdstk.Reference(m2_m1_cdns_764868220894, (0.115,-1.005)))
nand2.add(gdstk.Reference(m2_m1_cdns_764868220894, (0.32,0.43)))
nand2.add(gdstk.Reference(m1_psub_cdns_76486822089, (0.97,-1.615)))
nand2.add(gdstk.Reference(m1_po_cdns_7648682208910, (0.795,-0.365)))
nand2.add(gdstk.Reference(m1_po_cdns_7648682208910, (0.145,-0.215)))
nand2.add(gdstk.Label('VSS', (0.975,-1.615), layer=63, texttype=0))
nand2.add(gdstk.Label('OUT', (0.97,-0.21), layer=63, texttype=0))
nand2.add(gdstk.Label('B', (0.795,-0.47), layer=63, texttype=0))
nand2.add(gdstk.Label('A', (0.145,-0.16), layer=63, texttype=0))
nand2.add(gdstk.Label('VDD', (0.635,1.055), layer=63, texttype=0))
nand2.add(gdstk.Label('VSS', (0.975,-1.615), layer=7, texttype=0))
nand2.add(gdstk.Label('OUT', (0.97,-0.21), layer=7, texttype=0))
nand2.add(gdstk.Label('B', (0.795,-0.47), layer=7, texttype=0))
nand2.add(gdstk.Label('A', (0.145,-0.16), layer=7, texttype=0))
nand2.add(gdstk.Label('VDD', (0.635,1.055), layer=7, texttype=0))

and2 = lib.new_cell('and2')
R(and2, nimplant, [(-0.015,-0.71,0.075,-0.68)])
R(and2, metal1, [(-0.385,-1.24,-0.325,-1.18), (0.295,-0.91,0.355,-0.85), (-0.555,-0.025,-0.495,0.035), (-1.205,0.21,-1.145,0.27), (0.45,0.225,0.51,0.285), (0.27,1.405,0.33,1.465), (-0.705,1.42,-0.645,1.48)])
and2.add(gdstk.FlexPath([(-0.525,0.005),(-0.525,-0.075)], 0.06, ends="extended", simple_path=True, layer=7, datatype=0))  # metal1
and2.add(gdstk.FlexPath([(-0.145,1.43),(0.305,1.43)], 0.06, ends="flush", simple_path=True, layer=7, datatype=0))  # metal1
and2.add(gdstk.FlexPath([(0.325,-1.21),(0.325,-0.85)], 0.06, ends=(0.03, 0), simple_path=True, layer=7, datatype=0))  # metal1
and2.add(gdstk.FlexPath([(0.125,0.185),(0.125,0.18)], 0.06, ends=(0.03, 0), simple_path=True, layer=7, datatype=0))  # metal1
and2.add(gdstk.FlexPath([(-0.35,0.185),(0.125,0.185)], 0.06, ends=(0, 0.03), simple_path=True, layer=7, datatype=0))  # metal1
and2.add(gdstk.FlexPath([(-0.325,-1.21),(0.325,-1.21)], 0.06, ends=(0, 0.03), simple_path=True, layer=7, datatype=0))  # metal1
and2.add(gdstk.Reference(nand2, (-1.32,0.395)))
and2.add(gdstk.Reference(inv, (0.205,0.15)))
and2.add(gdstk.Label('VDD', (-0.675,1.45), layer=7, texttype=0))
and2.add(gdstk.Label('A', (-1.175,0.24), layer=7, texttype=0))
and2.add(gdstk.Label('VDD', (0.3,1.435), layer=7, texttype=0))
and2.add(gdstk.Label('B', (-0.525,0.005), layer=7, texttype=0))
and2.add(gdstk.Label('VSS', (-0.355,-1.21), layer=7, texttype=0))
and2.add(gdstk.Label('OUT', (0.48,0.255), layer=7, texttype=0))
and2.add(gdstk.Label('VSS', (0.325,-0.88), layer=7, texttype=0))
and2.add(gdstk.Label('VDD', (-0.675,1.45), layer=63, texttype=0))
and2.add(gdstk.Label('A', (-1.175,0.24), layer=63, texttype=0))
and2.add(gdstk.Label('VSS', (-0.355,-1.21), layer=63, texttype=0))
and2.add(gdstk.Label('OUT', (0.48,0.255), layer=63, texttype=0))
and2.add(gdstk.Label('VSS', (0.325,-0.88), layer=63, texttype=0))
and2.add(gdstk.Label('VDD', (0.3,1.435), layer=63, texttype=0))
and2.add(gdstk.Label('B', (-0.525,0.005), layer=63, texttype=0))

m2_m1_cdns_764868220892 = lib.new_cell('M2_M1_CDNS_764868220892')
R(m2_m1_cdns_764868220892, metal1, [(-0.04,-0.135,0.04,0.135)])
R(m2_m1_cdns_764868220892, via1, [(-0.035,-0.105,0.035,-0.035), (-0.035,0.035,0.035,0.105)])
R(m2_m1_cdns_764868220892, metal2, [(-0.04,-0.135,0.04,0.135)])

half_adder_auto = lib.new_cell('half_adder_auto')
R(half_adder_auto, nimplant, [(2.845,1.12,2.935,1.15)])
R(half_adder_auto, metal1, [(3.89,0.6,3.95,0.66), (4.75,1.775,4.81,1.835), (1.83,1.925,1.89,1.985), (4.54,1.93,4.605,1.995), (1.115,2,1.175,2.06), (4.53,3.245,4.59,3.305)])
half_adder_auto.add(gdstk.FlexPath([(4.565,1.8),(4.565,2.115)], 0.08, ends="extended", simple_path=True, layer=9, datatype=0))  # metal2
half_adder_auto.add(gdstk.FlexPath([(4.78,1.805),(4.78,1.8)], 0.08, ends=(0, 0.04), simple_path=True, layer=9, datatype=0))  # metal2
half_adder_auto.add(gdstk.FlexPath([(1.145,1.225),(1.145,1.69)], 0.08, ends=(0.04, 0.065), simple_path=True, layer=9, datatype=0))  # metal2
half_adder_auto.add(gdstk.FlexPath([(2.905,1.225),(1.145,1.225)], 0.08, ends="extended", simple_path=True, layer=9, datatype=0))  # metal2
half_adder_auto.add(gdstk.FlexPath([(2.905,1.805),(2.905,1.225)], 0.08, ends="extended", simple_path=True, layer=9, datatype=0))  # metal2
half_adder_auto.add(gdstk.FlexPath([(3.745,1.805),(2.905,1.805)], 0.08, ends="extended", simple_path=True, layer=9, datatype=0))  # metal2
half_adder_auto.add(gdstk.FlexPath([(4.565,2.115),(2.945,2.115)], 0.08, ends=(0.04, 0.065), simple_path=True, layer=9, datatype=0))  # metal2
half_adder_auto.add(gdstk.FlexPath([(4.78,1.8),(4.565,1.8)], 0.08, ends="extended", simple_path=True, layer=9, datatype=0))  # metal2
half_adder_auto.add(gdstk.FlexPath([(3.595,3.28),(3.595,3.25)], 0.06, ends=(0.03, 0), simple_path=True, layer=7, datatype=0))  # metal1
half_adder_auto.add(gdstk.FlexPath([(4.575,1.91),(4.575,1.875)], 0.06, ends="extended", simple_path=True, layer=7, datatype=0))  # metal1
half_adder_auto.add(gdstk.FlexPath([(1.305,0.62),(1.305,0.97)], 0.06, ends=(0.03, 0), simple_path=True, layer=7, datatype=0))  # metal1
half_adder_auto.add(gdstk.FlexPath([(2.445,1.935),(2.445,1.995)], 0.06, ends=(0.03, 0), simple_path=True, layer=7, datatype=0))  # metal1
half_adder_auto.add(gdstk.FlexPath([(3.095,1.935),(2.445,1.935)], 0.06, ends="extended", simple_path=True, layer=7, datatype=0))  # metal1
half_adder_auto.add(gdstk.FlexPath([(3.095,2.065),(3.095,1.935)], 0.06, ends="extended", simple_path=True, layer=7, datatype=0))  # metal1
half_adder_auto.add(gdstk.FlexPath([(2.445,1.955),(2.445,1.995)], 0.06, ends=(0.03, 0), simple_path=True, layer=7, datatype=0))  # metal1
half_adder_auto.add(gdstk.FlexPath([(1.87,1.955),(2.445,1.955)], 0.06, ends=(0.065, 0.03), simple_path=True, layer=7, datatype=0))  # metal1
half_adder_auto.add(gdstk.FlexPath([(1.31,3.265),(1.31,3.28)], 0.06, ends=(0, 0.03), simple_path=True, layer=7, datatype=0))  # metal1
half_adder_auto.add(gdstk.FlexPath([(3.885,0.62),(1.305,0.62)], 0.06, ends=(0, 0.03), simple_path=True, layer=7, datatype=0))  # metal1
half_adder_auto.add(gdstk.FlexPath([(1.145,1.69),(1.145,1.98)], 0.06, ends=(0.04, 0.03), simple_path=True, layer=7, datatype=0))  # metal1
half_adder_auto.add(gdstk.FlexPath([(3.745,1.865),(3.745,1.805)], 0.13, ends="flush", simple_path=True, layer=7, datatype=0))  # metal1
half_adder_auto.add(gdstk.FlexPath([(4.56,3.28),(4.56,3.245)], 0.06, ends=(0.03, 0), simple_path=True, layer=7, datatype=0))  # metal1
half_adder_auto.add(gdstk.FlexPath([(1.31,3.28),(3.595,3.28)], 0.06, ends="extended", simple_path=True, layer=7, datatype=0))  # metal1
half_adder_auto.add(gdstk.Reference(xor, (2.095,2.18)))
half_adder_auto.add(gdstk.Reference(and2, (4.27,1.83)))
half_adder_auto.add(gdstk.Reference(m2_m1_cdns_764868220890, (2.945,2.115)))
half_adder_auto.add(gdstk.Reference(m2_m1_cdns_764868220891, (1.145,1.69)))
half_adder_auto.add(gdstk.Reference(m2_m1_cdns_764868220891, (3.745,1.805)))
half_adder_auto.add(gdstk.Reference(m2_m1_cdns_764868220892, (4.78,1.785)))
half_adder_auto.add(gdstk.Label('Co', (4.5725,1.9625), layer=7, texttype=0))
half_adder_auto.add(gdstk.Label('S', (4.78,1.805), layer=7, texttype=0))
half_adder_auto.add(gdstk.Label('VSS', (3.92,0.63), layer=7, texttype=0))
half_adder_auto.add(gdstk.Label('VDD', (4.56,3.275), layer=7, texttype=0))
half_adder_auto.add(gdstk.Label('B', (1.145,2.03), layer=7, texttype=0))
half_adder_auto.add(gdstk.Label('A', (1.86,1.955), layer=7, texttype=0))

lib.write_gds('half_adder_auto.gds')
